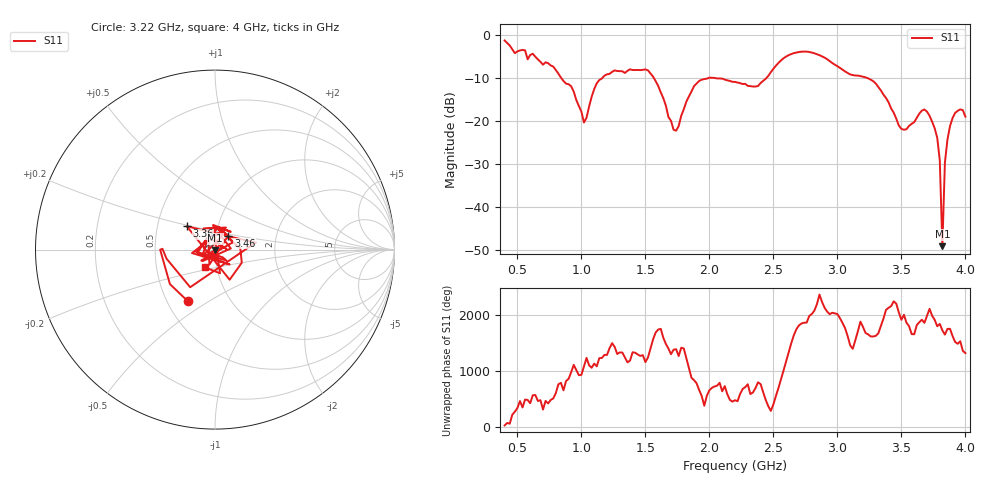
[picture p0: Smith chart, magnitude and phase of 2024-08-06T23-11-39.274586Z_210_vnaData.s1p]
!Created with skrf (http://scikit-rf.org).
# Hz S RI R 50.0
!freq ReS11 ImS11
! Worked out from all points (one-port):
!   181 points, 400 MHz to 4 GHz, reference 50 ohm
!   lowest |S11| = -49.0 dB at 3.82 GHz (marker M1), VSWR 1.01, Z = 50.1 - j0.333 ohm
!   |S11| at or under -10 dB: 1.568 GHz to 1.987 GHz (419.2 MHz wide, 23.6 % of centre); 2.055 GHz to 2.443 GHz (387.9 MHz wide, 17.2 % of centre); 3.24 GHz to end of sweep (the widest 3 of 4)
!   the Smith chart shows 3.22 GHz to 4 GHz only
!   S11 on the Smith chart (normalised r, x): 3.22 GHz: 0.63, -0.41; 3.36 GHz: 0.71, +0.19; 3.46 GHz: 1.14, +0.18; 4 GHz: 0.88, -0.18
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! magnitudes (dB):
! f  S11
! 400 MHz  -1.2
! 860 MHz  -10.6
! 920 MHz  -11.8
! 1.02 GHz  -20.3
! 1.12 GHz  -11.1
! 1.3 GHz  -8.3
! 1.52 GHz  -8.1
! 1.6 GHz  -11.8
! 1.72 GHz  -21.9
! 1.76 GHz  -21.1
! 1.92 GHz  -10.6
! 2.2 GHz  -10.8
! 2.38 GHz  -11.8
! 2.66 GHz  -4.1
! 2.84 GHz  -4.4
! 3.1 GHz  -9.1
! 3.22 GHz  -9.8
! 3.36 GHz  -13.8
! 3.46 GHz  -19.4
! 3.56 GHz  -21.0
! 3.68 GHz  -17.2
! 3.76 GHz  -21.6
! 3.8 GHz  -29.1
! 3.82 GHz  -49.0
! 3.84 GHz  -29.6
! 3.86 GHz  -24.2
! 3.92 GHz  -18.0
! 4 GHz  -18.9
